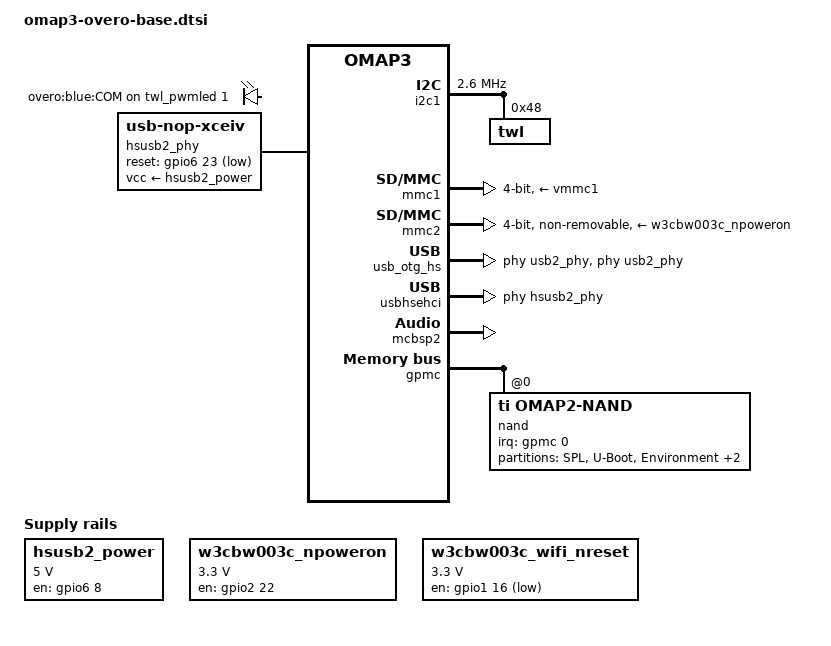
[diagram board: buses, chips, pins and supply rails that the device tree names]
/*
 * Copyright (C) 2012 Florian Vaussard, EPFL Mobots group
 *
 * This program is free software; you can redistribute it and/or modify
 * it under the terms of the GNU General Public License version 2 as
 * published by the Free Software Foundation.
 */

/*
 * The Gumstix Overo must be combined with an expansion board.
 */

/ {

	memory@0 {
		device_type = "memory";
		reg = <0 0>;
	};

	pwmleds {
		compatible = "pwm-leds";

		overo {
			label = "overo:blue:COM";
			pwms = <&twl_pwmled 1 7812500>;
			max-brightness = <127>;
			linux,default-trigger = "mmc0";
		};
	};

	sound {
		compatible = "ti,omap-twl4030";
		ti,model = "overo";

		ti,mcbsp = <&mcbsp2>;
	};

	/* HS USB Port 2 Power */
	hsusb2_power: hsusb2_power_reg {
		compatible = "regulator-fixed";
		regulator-name = "hsusb2_vbus";
		regulator-min-microvolt = <5000000>;
		regulator-max-microvolt = <5000000>;
		gpio = <&gpio6 8 GPIO_ACTIVE_HIGH>;		/* gpio_168: vbus enable */
		startup-delay-us = <70000>;
		enable-active-high;
	};

	/* HS USB Host PHY on PORT 2 */
	hsusb2_phy: hsusb2_phy {
		compatible = "usb-nop-xceiv";
		reset-gpios = <&gpio6 23 GPIO_ACTIVE_LOW>;	/* gpio_183 */
		vcc-supply = <&hsusb2_power>;
	};

	/* Regulator to trigger the nPoweron signal of the Wifi module */
	w3cbw003c_npoweron: regulator-w3cbw003c-npoweron {
		compatible = "regulator-fixed";
		regulator-name = "regulator-w3cbw003c-npoweron";
		regulator-min-microvolt = <3300000>;
		regulator-max-microvolt = <3300000>;
		gpio = <&gpio2 22 GPIO_ACTIVE_HIGH>;		/* gpio_54: nPoweron */
		enable-active-high;
	};

	/* Regulator to trigger the nReset signal of the Wifi module */
	w3cbw003c_wifi_nreset: regulator-w3cbw003c-wifi-nreset {
		pinctrl-names = "default";
		pinctrl-0 = <&w3cbw003c_pins &w3cbw003c_2_pins>;
		compatible = "regulator-fixed";
		regulator-name = "regulator-w3cbw003c-wifi-nreset";
		regulator-min-microvolt = <3300000>;
		regulator-max-microvolt = <3300000>;
		gpio = <&gpio1 16 GPIO_ACTIVE_HIGH>;		/* gpio_16: WiFi nReset */
		startup-delay-us = <10000>;
	};
};

&omap3_pmx_core {
	pinctrl-names = "default";
	pinctrl-0 = <
			&hsusb2_pins
	>;

	uart2_pins: pinmux_uart2_pins {
		pinctrl-single,pins = <
			OMAP3_CORE1_IOPAD(0x216c, PIN_INPUT | MUX_MODE1)	/* mcbsp3_dx.uart2_cts */
			OMAP3_CORE1_IOPAD(0x216e, PIN_OUTPUT | MUX_MODE1)	/* mcbsp3_dr.uart2_rts */
			OMAP3_CORE1_IOPAD(0x2170, PIN_OUTPUT | MUX_MODE1)	/* mcbsp3_clk.uart2_tx */
			OMAP3_CORE1_IOPAD(0x2172, PIN_INPUT | MUX_MODE1)	/* mcbsp3_fsx.uart2_rx */
		>;
	};

	i2c1_pins: pinmux_i2c1_pins {
		pinctrl-single,pins = <
			OMAP3_CORE1_IOPAD(0x21ba, PIN_INPUT | MUX_MODE0)		/* i2c1_scl.i2c1_scl */
			OMAP3_CORE1_IOPAD(0x21bc, PIN_INPUT | MUX_MODE0)		/* i2c1_sda.i2c1_sda */
		>;
	};

	mmc1_pins: pinmux_mmc1_pins {
		pinctrl-single,pins = <
			OMAP3_CORE1_IOPAD(0x2144, PIN_INPUT_PULLUP | MUX_MODE0)		/* sdmmc1_clk.sdmmc1_clk */
			OMAP3_CORE1_IOPAD(0x2146, PIN_INPUT_PULLUP | MUX_MODE0)		/* sdmmc1_cmd.sdmmc1_cmd */
			OMAP3_CORE1_IOPAD(0x2148, PIN_INPUT_PULLUP | MUX_MODE0)		/* sdmmc1_dat0.sdmmc1_dat0 */
			OMAP3_CORE1_IOPAD(0x214a, PIN_INPUT_PULLUP | MUX_MODE0)		/* sdmmc1_dat1.sdmmc1_dat1 */
			OMAP3_CORE1_IOPAD(0x214c, PIN_INPUT_PULLUP | MUX_MODE0)		/* sdmmc1_dat2.sdmmc1_dat2 */
			OMAP3_CORE1_IOPAD(0x214e, PIN_INPUT_PULLUP | MUX_MODE0)		/* sdmmc1_dat3.sdmmc1_dat3 */
		>;
	};

	mmc2_pins: pinmux_mmc2_pins {
		pinctrl-single,pins = <
			OMAP3_CORE1_IOPAD(0x2158, PIN_INPUT_PULLUP | MUX_MODE0)		/* sdmmc2_clk.sdmmc2_clk */
			OMAP3_CORE1_IOPAD(0x215a, PIN_INPUT_PULLUP | MUX_MODE0)		/* sdmmc2_cmd.sdmmc2_cmd */
			OMAP3_CORE1_IOPAD(0x215c, PIN_INPUT_PULLUP | MUX_MODE0)		/* sdmmc2_dat0.sdmmc2_dat0 */
			OMAP3_CORE1_IOPAD(0x215e, PIN_INPUT_PULLUP | MUX_MODE0)		/* sdmmc2_dat1.sdmmc2_dat1 */
			OMAP3_CORE1_IOPAD(0x2160, PIN_INPUT_PULLUP | MUX_MODE0)		/* sdmmc2_dat2.sdmmc2_dat2 */
			OMAP3_CORE1_IOPAD(0x2162, PIN_INPUT_PULLUP | MUX_MODE0)		/* sdmmc2_dat3.sdmmc2_dat3 */
		>;
	};

	/* WiFi/BT combo */
	w3cbw003c_pins: pinmux_w3cbw003c_pins {
		pinctrl-single,pins = <
			OMAP3_CORE1_IOPAD(0x20b4, PIN_OUTPUT | MUX_MODE4)		/* gpmc_ncs3.gpio_54 */
			OMAP3_CORE1_IOPAD(0x219c, PIN_OUTPUT | MUX_MODE4)		/* uart3_rts_sd.gpio_164 */
		>;
	};

	hsusb2_pins: pinmux_hsusb2_pins {
		pinctrl-single,pins = <
			OMAP3_CORE1_IOPAD(0x21d4, PIN_INPUT_PULLDOWN | MUX_MODE3)	/* mcspi1_cs3.hsusb2_data2 */
			OMAP3_CORE1_IOPAD(0x21d6, PIN_INPUT_PULLDOWN | MUX_MODE3)	/* mcspi2_clk.hsusb2_data7 */
			OMAP3_CORE1_IOPAD(0x21d8, PIN_INPUT_PULLDOWN | MUX_MODE3)	/* mcspi2_simo.hsusb2_data4 */
			OMAP3_CORE1_IOPAD(0x21da, PIN_INPUT_PULLDOWN | MUX_MODE3)	/* mcspi2_somi.hsusb2_data5 */
			OMAP3_CORE1_IOPAD(0x21dc, PIN_INPUT_PULLDOWN | MUX_MODE3)	/* mcspi2_cs0.hsusb2_data6 */
			OMAP3_CORE1_IOPAD(0x21de, PIN_INPUT_PULLDOWN | MUX_MODE3)	/* mcspi2_cs1.hsusb2_data3 */
			OMAP3_CORE1_IOPAD(0x21be, PIN_OUTPUT | MUX_MODE4)		/* i2c2_scl.gpio_168 */
			OMAP3_CORE1_IOPAD(0x21c0, PIN_OUTPUT | MUX_MODE4)		/* i2c2_sda.gpio_183 */
		>;
	};
};

&i2c1 {
	pinctrl-names = "default";
	pinctrl-0 = <&i2c1_pins>;
	clock-frequency = <2600000>;

	twl: twl@48 {
		reg = <0x48>;
		interrupts = <7>; /* SYS_NIRQ cascaded to intc */
		interrupt-parent = <&intc>;

		twl_audio: audio {
			compatible = "ti,twl4030-audio";
			codec {
			};
		};
	};
};

#include "twl4030.dtsi"
#include "twl4030_omap3.dtsi"

/* i2c2 pins are used for gpio */
&i2c2 {
	status = "disabled";
};

/* on board microSD slot */
&mmc1 {
	pinctrl-names = "default";
	pinctrl-0 = <&mmc1_pins>;
	vmmc-supply = <&vmmc1>;
	bus-width = <4>;
};

/* optional on board WiFi */
&mmc2 {
	pinctrl-names = "default";
	pinctrl-0 = <&mmc2_pins>;
	vmmc-supply = <&w3cbw003c_npoweron>;
	vmmc_aux-supply = <&w3cbw003c_wifi_nreset>;
	bus-width = <4>;
	cap-sdio-irq;
	non-removable;
};

&twl_gpio {
	ti,use-leds;
};

&usb_otg_hs {
	interface-type = <0>;
	usb-phy = <&usb2_phy>;
	phys = <&usb2_phy>;
	phy-names = "usb2-phy";
	mode = <3>;
	power = <50>;
};

&usbhshost {
	port2-mode = "ehci-phy";
};

&usbhsehci {
	phys = <0 &hsusb2_phy>;
};

&uart2 {
	pinctrl-names = "default";
	pinctrl-0 = <&uart2_pins>;
};

&mcbsp2 {
	status = "okay";
};

&gpmc {
	ranges = <0 0 0x30000000 0x1000000>,	/* CS0 */
		 <4 0 0x2b000000 0x1000000>,	/* CS4 */
		 <5 0 0x2c000000 0x1000000>;	/* CS5 */

	nand@0,0 {
		compatible = "ti,omap2-nand";
		linux,mtd-name= "micron,mt29c4g96maz";
		reg = <0 0 4>;	/* CS0, offset 0, IO size 4 */
		interrupt-parent = <&gpmc>;
		interrupts = <0 IRQ_TYPE_NONE>, /* fifoevent */
			     <1 IRQ_TYPE_NONE>;	/* termcount */
		nand-bus-width = <16>;
		gpmc,device-width = <2>;
		ti,nand-ecc-opt = "bch8";

		gpmc,sync-clk-ps = <0>;
		gpmc,cs-on-ns = <0>;
		gpmc,cs-rd-off-ns = <44>;
		gpmc,cs-wr-off-ns = <44>;
		gpmc,adv-on-ns = <6>;
		gpmc,adv-rd-off-ns = <34>;
		gpmc,adv-wr-off-ns = <44>;
		gpmc,we-off-ns = <40>;
		gpmc,oe-off-ns = <54>;
		gpmc,access-ns = <64>;
		gpmc,rd-cycle-ns = <82>;
		gpmc,wr-cycle-ns = <82>;
		gpmc,wr-access-ns = <40>;
		gpmc,wr-data-mux-bus-ns = <0>;

		#address-cells = <1>;
		#size-cells = <1>;

		partition@0 {
			label = "SPL";
			reg = <0 0x80000>; /* 512KiB */
		};
		partition@80000 {
			label = "U-Boot";
			reg = <0x80000 0x1C0000>; /* 1792KiB */
		};
		partition@1c0000 {
			label = "Environment";
			reg = <0x240000 0x40000>; /* 256KiB */
		};
		partition@280000 {
			label = "Kernel";
			reg = <0x280000 0x800000>; /* 8192KiB */
		};
		partition@780000 {
			label = "Filesystem";
			reg = <0xA80000 0>;
			/* HACK: MTDPART_SIZ_FULL=0 so fill to end */
		};
	};
};
